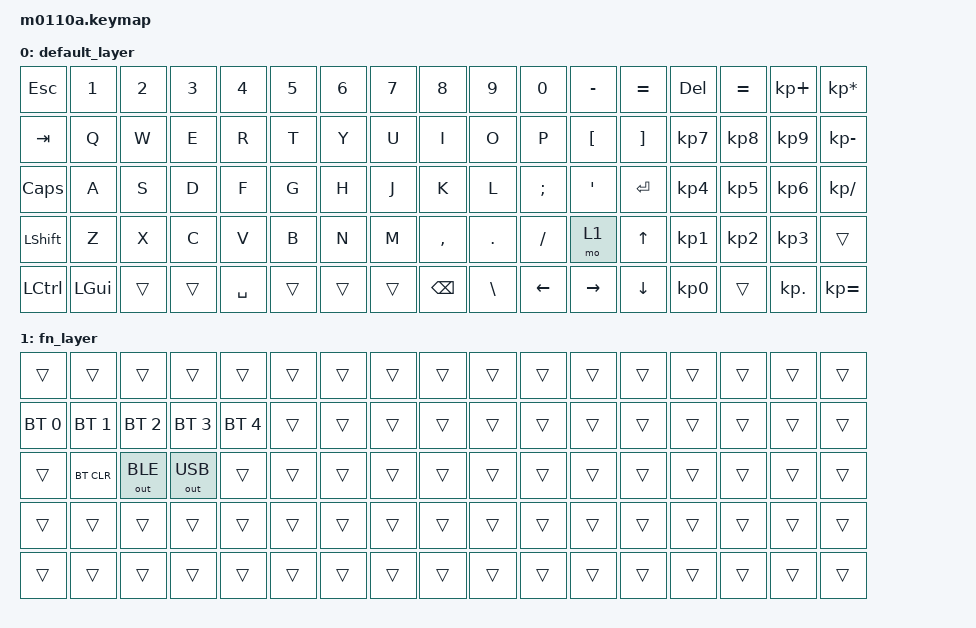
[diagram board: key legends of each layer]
#include <behaviors.dtsi>
#include <dt-bindings/zmk/keys.h>
#include <dt-bindings/zmk/bt.h>
#include <dt-bindings/zmk/outputs.h>
#include <dt-bindings/zmk/ext_power.h>

/ {
	keymap {
		compatible = "zmk,keymap";

		default_layer {
			bindings = <          
	&kp ESC          &kp NUM_1        &kp NUM_2     &kp NUM_3     &kp NUM_4     &kp NUM_5        &kp NUM_6        &kp NUM_7        &kp NUM_8        &kp NUM_9        &kp NUM_0        &kp MINUS        &kp EQL            &kp DEL          &kp EQUAL        &kp KP_PLUS      &kp KP_ASTERISK
	&kp TAB          &kp Q            &kp W         &kp E         &kp R         &kp T            &kp Y            &kp U            &kp I            &kp O            &kp P            &kp LBKT         &kp RBKT           &kp KP_N7        &kp KP_N8        &kp KP_N9        &kp KP_MINUS 
	&kp CAPS         &kp A            &kp S         &kp D         &kp F         &kp G            &kp H            &kp J            &kp K            &kp L            &kp SCLN         &kp QUOT         &kp ENTER          &kp KP_N4        &kp KP_N5        &kp KP_N6        &kp KP_SLASH    
	&kp LSHFT        &kp Z            &kp X         &kp C         &kp V         &kp B            &kp N            &kp M            &kp CMMA         &kp DOT          &kp FSLH         &mo 1            &kp UP             &kp KP_N1        &kp KP_N2        &kp KP_N3        &trans
    &kp LCTRL        &kp LGUI         &trans        &trans        &kp SPACE     &trans           &trans           &trans           &kp BSPC         &kp BSLH         &kp LEFT         &kp RIGHT        &kp DOWN           &kp KP_N0        &trans           &kp KP_DOT       &kp KP_EQUAL
			>;	
		};

		fn_layer {
			bindings = <               
	&trans           &trans           &trans        &trans        &trans        &trans           &trans           &trans           &trans           &trans           &trans           &trans           &trans             &trans           &trans           &trans           &trans 
	&bt BT_SEL 0     &bt BT_SEL 1     &bt BT_SEL 2  &bt BT_SEL 3  &bt BT_SEL 4  &trans           &trans           &trans           &trans           &trans           &trans           &trans           &trans             &trans           &trans           &trans           &trans       
	&trans           &bt BT_CLR       &out OUT_BLE  &out OUT_USB  &trans        &trans           &trans           &trans           &trans           &trans           &trans           &trans           &trans             &trans           &trans           &trans           &trans       
	&trans           &trans           &trans        &trans        &trans        &trans           &trans           &trans           &trans           &trans           &trans           &trans           &trans             &trans           &trans           &trans           &trans              
	&trans           &trans           &trans        &trans        &trans        &trans           &trans           &trans           &trans           &trans           &trans           &trans           &trans             &trans           &trans           &trans           &trans                                                              
			>;
		};
	};
};
	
